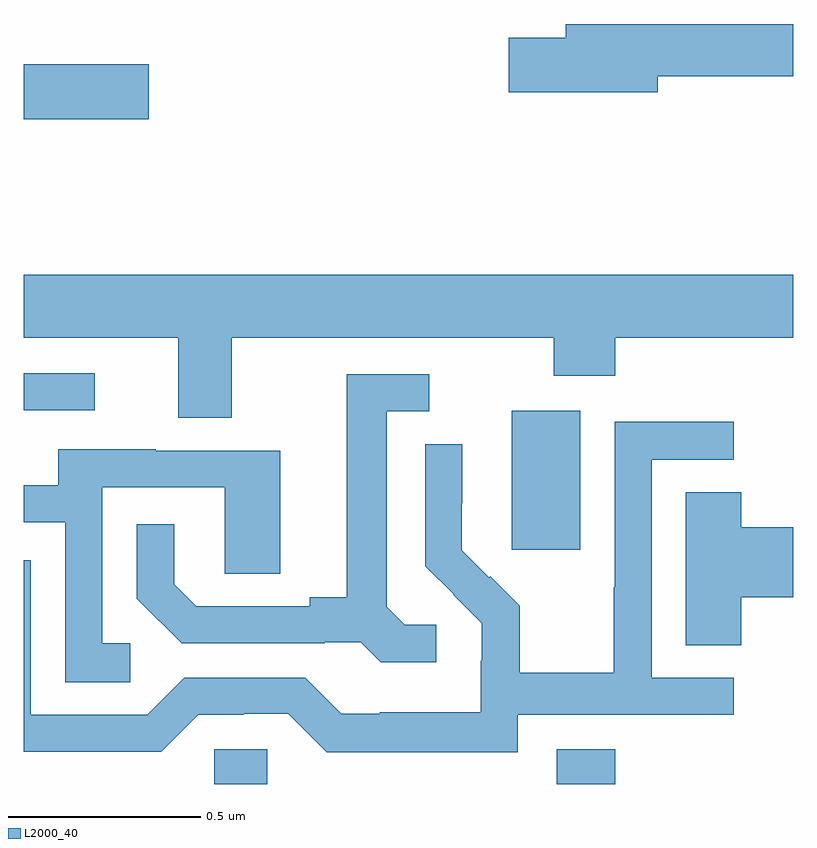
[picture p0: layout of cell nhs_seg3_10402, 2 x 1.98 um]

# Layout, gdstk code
import gdstk
lib = gdstk.Library(unit=1e-6, precision=1e-09)
def R(c, l, rs):  # rectangles x0, y0, x1, y1
    for r in rs: c.add(gdstk.rectangle(r[:2], r[2:], *l))
def P(c, l, *ps):  # polygons
    for p in ps: c.add(gdstk.Polygon(p, *l))
L2000_40 = (2000, 40)

nhs_seg3_10402 = lib.new_cell('nhs_seg3_10402')
R(nhs_seg3_10402, L2000_40, [(240.495,722.4,240.633,722.49), (241.385,722.4,241.538,722.491), (241.268,723.009,241.447,723.37), (240,723.372,240.184,723.468), (240,724.129,240.325,724.271)])
P(nhs_seg3_10402, L2000_40, [(241.648,724.24),(242,724.24),(242,724.376),(241.409,724.376),(241.409,724.34),(241.26,724.34),(241.26,724.198),(241.648,724.198)],
  [(240.541,723.56),(241.378,723.56),(241.378,723.461),(241.538,723.461),(241.538,723.56),(242,723.56),(242,723.724),(240,723.724),(240,723.56),(240.401,723.56),(240.401,723.352),(240.541,723.352)],
  [(241.072,722.814),(240.99,722.814),(240.943,722.861),(240.943,723.369),(241.054,723.369),(241.054,723.465),(240.839,723.465),(240.839,722.885),(240.743,722.885),(240.743,722.862),(240.448,722.862),(240.391,722.919),(240.391,723.076),(240.294,723.076),(240.294,722.882),(240.41,722.766),(240.782,722.766),(240.782,722.769),(240.876,722.769),(240.928,722.717),(241.072,722.717)],
  [(241.284,722.58),(241.846,722.58),(241.846,722.676),(241.632,722.676),(241.632,723.243),(241.846,723.243),(241.846,723.342),(241.536,723.342),(241.536,722.912),(241.534,722.912),(241.534,722.689),(241.289,722.689),(241.289,722.863),(241.212,722.94),(241.209,722.937),(241.139,723.008),(241.139,723.13),(241.14,723.13),(241.14,723.284),(241.044,723.284),(241.044,722.966),(241.117,722.893),(241.116,722.892),(241.19,722.818),(241.19,722.721),(241.188,722.721),(241.188,722.587),(240.925,722.587),(240.925,722.583),(240.825,722.583),(240.732,722.676),(240.417,722.676),(240.321,722.58),(240.018,722.58),(240.018,722.982),(240,722.982),(240,722.484),(240.357,722.484),(240.453,722.58),(240.572,722.58),(240.572,722.583),(240.687,722.583),(240.787,722.483),(241.284,722.483)],
  [(240.277,722.766),(240.204,722.766),(240.204,723.171),(240.522,723.171),(240.522,722.947),(240.667,722.947),(240.667,723.267),(240.343,723.267),(240.343,723.271),(240.089,723.271),(240.089,723.177),(240,723.177),(240,723.081),(240.108,723.081),(240.108,722.665),(240.277,722.665)],
  [(241.865,722.885),(242,722.885),(242,723.068),(241.865,723.068),(241.865,723.158),(241.721,723.158),(241.721,722.761),(241.865,722.761)])

lib.write_gds('nhs_seg3_10402.gds')
